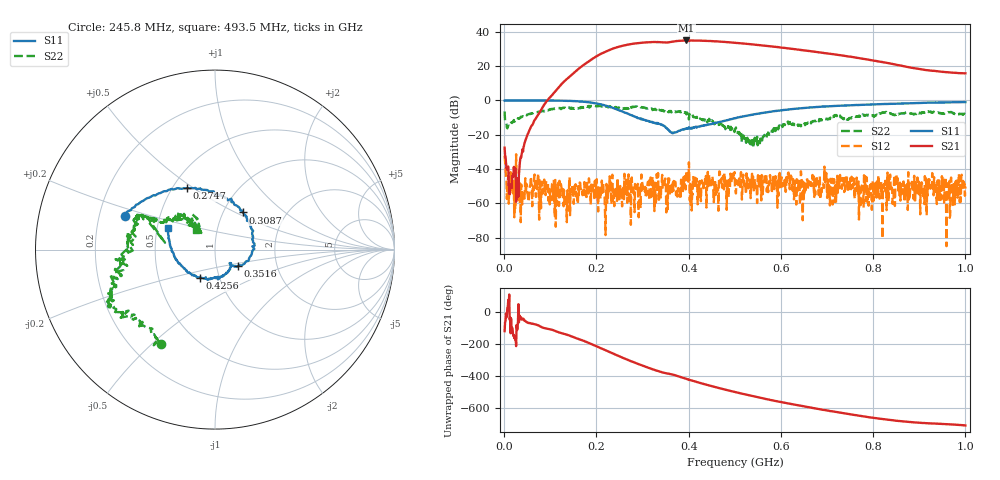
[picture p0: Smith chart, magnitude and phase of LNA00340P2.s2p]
! Created with skrf 1.9.0 (http://scikit-rf.org).
# Hz S RI R 50.0
!freq ReS11 ImS11 ReS21 ImS21 ReS12 ImS12 ReS22 ImS22
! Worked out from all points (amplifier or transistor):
!   1001 points, 1 MHz to 1 GHz, reference 50 ohm
!   highest |S21| = 35.0 dB at 394.6 MHz (marker M1)
!   |S21| within 3 dB of that: 258.4 MHz to 563.8 MHz (305.4 MHz wide, 74.3 % of centre)
!   unconditionally stable (mu >= 1): 3.365 MHz to 72.69 MHz; 260.8 MHz to 400.5 MHz; 400.7 MHz to end of sweep (the widest 3 of 32)
!   at 166.8 MHz: K = 1.44, MAG = 31.4 dB, |S12| = -51.1 dB
!   at 500.5 MHz: K = 2.97, MAG = 34.1 dB, |S12| = -49.8 dB
!   at 1 GHz: K = 4.22, MAG = 23.8 dB, |S12| = -50.1 dB
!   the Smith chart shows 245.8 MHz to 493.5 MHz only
!   S11 on the Smith chart (normalised r, x): 245.8 MHz: 0.31, +0.16; 274.7 MHz: 0.59, +0.47; 308.7 MHz: 1.23, +0.55; 351.6 MHz: 1.27, -0.24; 425.6 MHz: 0.81, -0.27; 493.5 MHz: 0.57, +0.15
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1000000  0.9852 -0.00243  -0.0219 -0.0361  -0.0203 0.0139  0.3199 0.3537
1.08892e8  0.5104 -0.8513  -0.8026 -1.521  0.000896 0.000859  0.4336 -0.3588
1.67833e8  -0.2527 -0.8922  -9.856 -0.5471  0.00231 0.000267  0.0589 -0.6387
2.1079e8  -0.6772 -0.3451  -15.38 17.37  0.00265 -0.00159  -0.1932 -0.6665
2.27773e8  -0.6594 -0.0623  -9.477 27.76  -0.00157 -0.00163  -0.2468 -0.601
2.45755e8  -0.5032 0.188  2.246 35.76  0.00389 -0.0039  -0.3017 -0.5274
2.74726e8  -0.1573 0.3421  27.65 34.26  -6.87e-05 -0.000228  -0.5151 -0.3477
3.08692e8  0.1547 0.2072  48.06 11.53  -0.00168 0.000385  -0.5638 -0.2084
3.34666e8  0.2115 -0.00279  49.13 -10.65  0.000682 0.00199  -0.528 -0.0811
3.51649e8  0.1274 -0.0921  44.32 -21.02  3.89e-05 0.000548  -0.4848 0.0126
3.72628e8  0.0886 -0.0788  41.7 -33.87  -0.00168 -0.000461  -0.4443 0.1331
3.94606e8  0.0506 -0.1428  28.32 -48.47  0.00194 0.00431  -0.3983 0.1843
4.25575e8  -0.082 -0.1588  3.593 -55.19  -0.00147 0.00133  -0.2201 0.187
4.55545e8  -0.205 -0.075  -18.09 -49.86  -0.00225 0.000657  -0.1432 0.1444
4.93507e8  -0.2602 0.1217  -36.13 -32.91  0.00461 -0.00275  -0.1082 0.111
5.005e8  -0.2566 0.1587  -38.45 -29.33  -0.000179 -0.00322  -0.1058 0.093
5.4046e8  -0.1731 0.3477  -41.99 -8.141  -0.000827 -0.00317  -0.0418 -0.00526
5.88412e8  0.0324 0.4922  -34.62 11.81  0.00555 0.00281  -0.0966 -0.0847
6.67333e8  0.4081 0.4841  -12.64 23.64  0.00156 -0.00373  -0.2281 -0.0708
7.53247e8  0.6777 0.2692  4.324 18.07  -0.00333 -0.00497  -0.3192 -0.000149
8.34166e8  0.7941 0.0127  8.851 8.312  0.00421 -0.00216  -0.4202 0.0689
1e9  0.7258 -0.5297  6.128 0.8698  -0.00294 0.00103  -0.1779 0.3525
